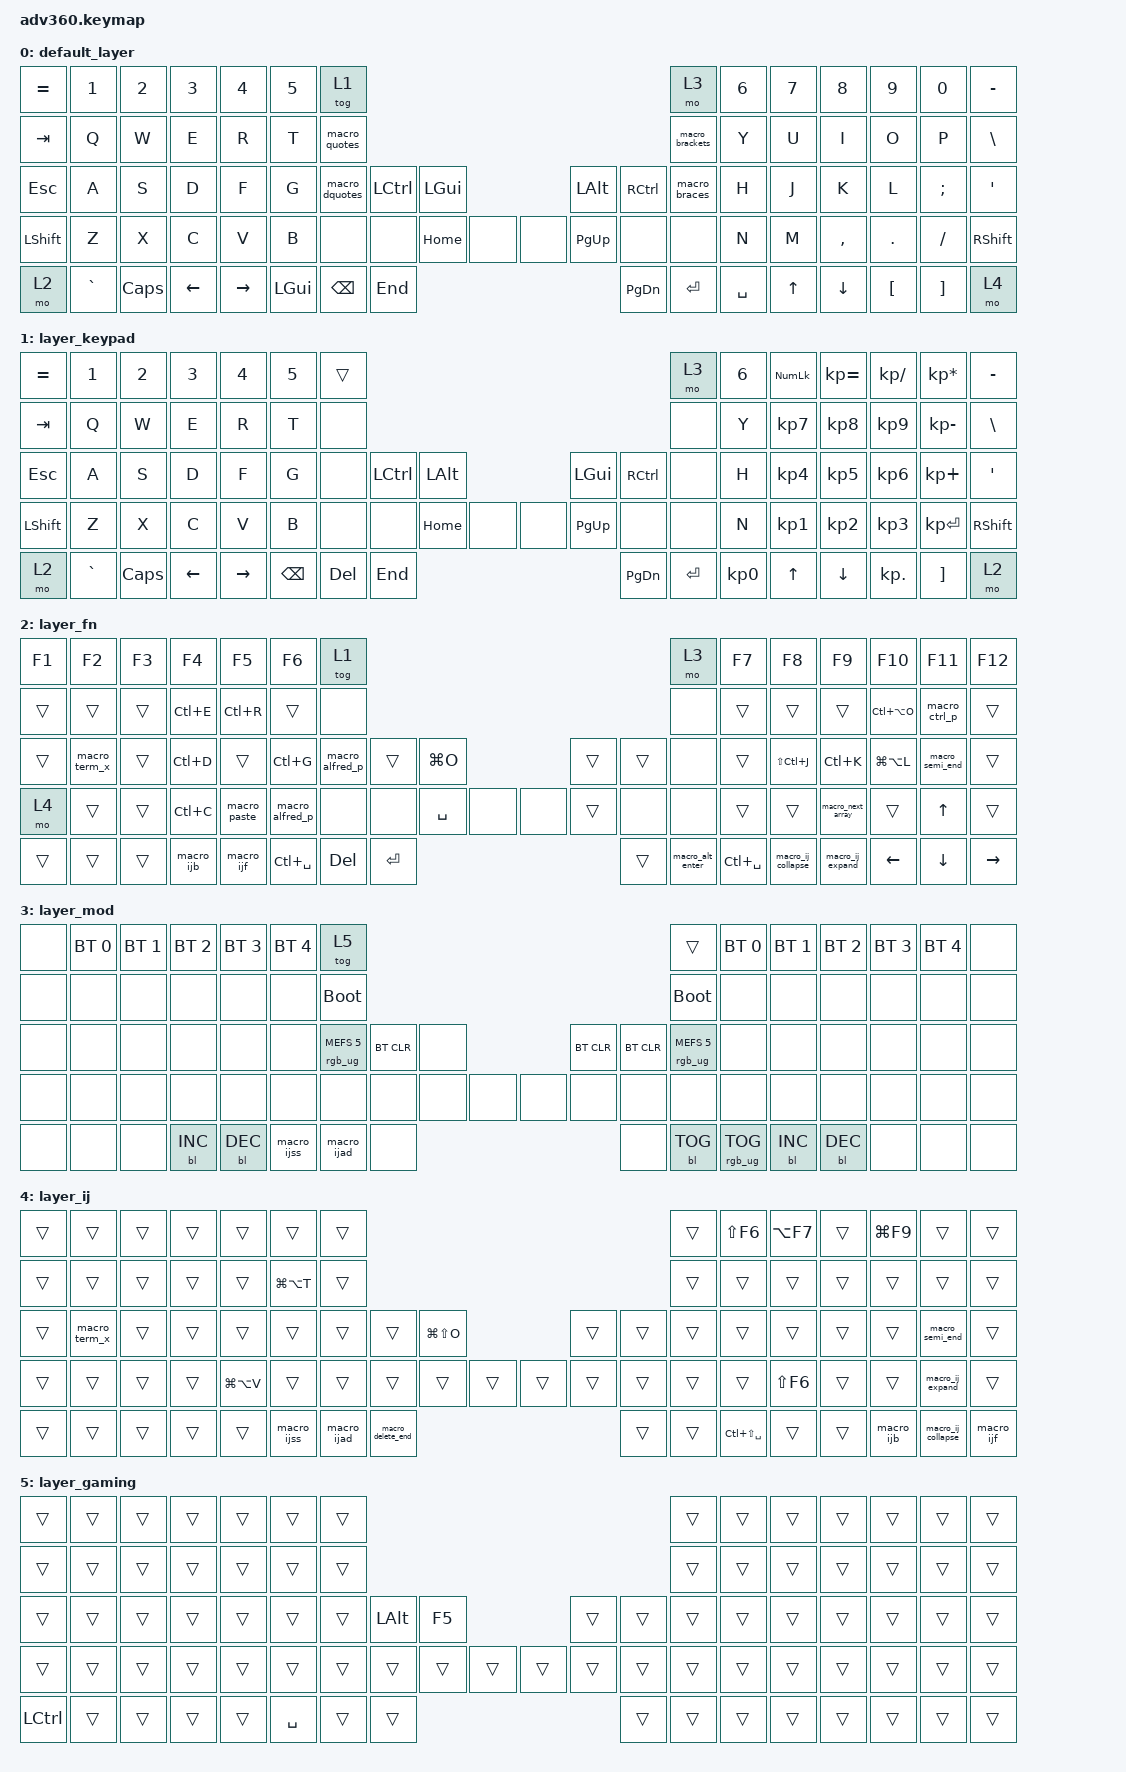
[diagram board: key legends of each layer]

/*
 * Copyright (c) 2020 The ZMK Contributors
 *
 * SPDX-License-Identifier: MIT
 */


/* THIS FILE WAS GENERATED!
 *
 * This file was generated automatically. You may or may not want to
 * edit it directly.
 */

#include <behaviors.dtsi>
#include <dt-bindings/zmk/keys.h>
#include <dt-bindings/zmk/bt.h>
#include <dt-bindings/zmk/rgb.h>
#include <dt-bindings/zmk/backlight.h>

/ {
  behaviors {
    #include "macros.dtsi"

    hm: homerow_mods {
        compatible = "zmk,behavior-hold-tap";
        label = "HOMEROW_MODS";
        #binding-cells = <2>;
        tapping-term-ms = <200>;
        quick_tap_ms = <175>;
        flavor = "tap-preferred";
        bindings = <&kp>, <&kp>;
    };
  };

    keymap {
        compatible = "zmk,keymap";


        default_layer {
            bindings = <
 &kp EQUAL     &kp N1    &kp N2    &kp N3     &kp N4  &kp N5                    &tog 1                                                                           &mo 3  &kp N6  &kp N7     &kp N8    &kp N9    &kp N0  &kp MINUS
   &kp TAB      &kp Q     &kp W     &kp E      &kp R   &kp T             &macro_quotes                                                                 &macro_brackets   &kp Y   &kp U      &kp I     &kp O     &kp P   &kp BSLH
   &kp ESC      &kp A     &kp S     &kp D      &kp F   &kp G            &macro_dquotes      &kp LCTRL  &kp LGUI                   &kp LALT  &kp RCTRL    &macro_braces   &kp H   &kp J      &kp K     &kp L  &kp SEMI    &kp SQT
 &kp LSHFT      &kp Z     &kp X     &kp C      &kp V   &kp B                     &none          &none  &kp HOME   &none   &none  &kp PG_UP      &none            &none   &kp N   &kp M  &kp COMMA   &kp DOT  &kp FSLH  &kp RSHFT
     &mo 2  &kp GRAVE  &kp CAPS  &kp LEFT  &kp RIGHT                      &kp LEFT_GUI  &kp BACKSPACE   &kp END                  &kp PG_DN  &kp ENTER        &kp SPACE          &kp UP   &kp DOWN  &kp LBKT  &kp RBKT      &mo 4
            >;
        };

        layer_keypad {
            bindings = <
 &kp EQUAL     &kp N1    &kp N2    &kp N3     &kp N4  &kp N5              &trans                                                                 &mo 3  &kp N6  &kp KP_NUM  &kp KP_EQUAL  &kp KP_DIVIDE  &kp KP_MULTIPLY  &kp MINUS
   &kp TAB      &kp Q     &kp W     &kp E      &kp R   &kp T               &none                                                                 &none   &kp Y   &kp KP_N7     &kp KP_N8      &kp KP_N9     &kp KP_MINUS   &kp BSLH
   &kp ESC      &kp A     &kp S     &kp D      &kp F   &kp G               &none  &kp LCTRL  &kp LALT                   &kp LGUI  &kp RCTRL      &none   &kp H   &kp KP_N4     &kp KP_N5      &kp KP_N6      &kp KP_PLUS    &kp SQT
 &kp LSHFT      &kp Z     &kp X     &kp C      &kp V   &kp B               &none      &none  &kp HOME   &none   &none  &kp PG_UP      &none      &none   &kp N   &kp KP_N1     &kp KP_N2      &kp KP_N3     &kp KP_ENTER  &kp RSHFT
     &mo 2  &kp GRAVE  &kp CAPS  &kp LEFT  &kp RIGHT                    &kp BSPC    &kp DEL   &kp END                  &kp PG_DN  &kp ENTER  &kp KP_N0              &kp UP      &kp DOWN     &kp KP_DOT         &kp RBKT      &mo 2
            >;
        };

        layer_fn {
            bindings = <
 &kp F1         &kp F2  &kp F3      &kp F4        &kp F5           &kp F6                     &tog 1                                                                           &mo 3  &kp F7              &kp F8             &kp F9         &kp F10          &kp F11          &kp F12
 &trans         &trans  &trans   &kp LC(E)     &kp LC(R)           &trans                      &none                                                                           &none  &trans              &trans             &trans   &kp LC(LA(O))    &macro_ctrl_p           &trans
 &trans  &macro_term_x  &trans   &kp LC(D)        &trans        &kp LC(G)            &macro_alfred_p      &trans  &kp LG(O)                  &trans            &trans          &none  &trans       &kp LS(LC(J))          &kp LC(K)   &kp LG(LA(L))  &macro_semi_end           &trans
  &mo 4         &trans  &trans   &kp LC(C)  &macro_paste  &macro_alfred_p                      &none       &none  &kp SPACE   &none   &none  &trans             &none          &none  &trans              &trans  &macro_next_array          &trans     &kp UP_ARROW           &trans
 &trans         &trans  &trans  &macro_ijb    &macro_ijf                               &kp LC(SPACE)  &kp DELETE  &kp ENTER                  &trans  &macro_alt_enter  &kp LC(SPACE)          &macro_ij_collapse   &macro_ij_expand  &kp LEFT_ARROW   &kp DOWN_ARROW  &kp RIGHT_ARROW
            >;
        };

        layer_mod {
            bindings = <
  &none  &bt BT_SEL 0  &bt BT_SEL 1  &bt BT_SEL 2  &bt BT_SEL 3  &bt BT_SEL 4                            &tog 5                                                                               &trans  &bt BT_SEL 0  &bt BT_SEL 1  &bt BT_SEL 2  &bt BT_SEL 3  &bt BT_SEL 4   &none
  &none         &none         &none         &none         &none         &none                       &bootloader                                                                          &bootloader         &none         &none         &none         &none         &none   &none
  &none         &none         &none         &none         &none         &none            &rgb_ug RGB_MEFS_CMD 5   &bt BT_CLR   &none                  &bt BT_CLR  &bt BT_CLR  &rgb_ug RGB_MEFS_CMD 5         &none         &none         &none         &none         &none   &none
  &none         &none         &none         &none         &none         &none                             &none        &none   &none   &none   &none       &none       &none                   &none         &none         &none         &none         &none         &none   &none
  &none         &none         &none    &bl BL_INC    &bl BL_DEC                                     &macro_ijss  &macro_ijad   &none                       &none  &bl BL_TOG         &rgb_ug RGB_TOG                  &bl BL_INC    &bl BL_DEC         &none         &none   &none
            >;
        };

        layer_ij {
            bindings = <
 &trans         &trans  &trans  &trans         &trans         &trans                 &trans                                                                             &trans  &kp LS(F6)  &kp LA(F7)  &trans  &kp LG(F9)              &trans      &trans
 &trans         &trans  &trans  &trans         &trans  &kp LG(LA(T))                 &trans                                                                             &trans      &trans      &trans  &trans      &trans              &trans      &trans
 &trans  &macro_term_x  &trans  &trans         &trans         &trans                 &trans       &trans      &kp LG(LS(O))                  &trans  &trans             &trans      &trans      &trans  &trans      &trans     &macro_semi_end      &trans
 &trans         &trans  &trans  &trans  &kp LG(LA(V))         &trans                 &trans       &trans             &trans  &trans  &trans  &trans  &trans             &trans      &trans  &kp LS(F6)  &trans      &trans    &macro_ij_expand      &trans
 &trans         &trans  &trans  &trans         &trans                           &macro_ijss  &macro_ijad  &macro_delete_end                  &trans  &trans  &kp LC(LS(SPACE))                  &trans  &trans  &macro_ijb  &macro_ij_collapse  &macro_ijf
            >;
        };

        layer_gaming {
            bindings = <
 &trans  &trans  &trans  &trans  &trans  &trans                 &trans                                                       &trans  &trans  &trans  &trans  &trans  &trans  &trans
 &trans  &trans  &trans  &trans  &trans  &trans                 &trans                                                       &trans  &trans  &trans  &trans  &trans  &trans  &trans
 &trans  &trans  &trans  &trans  &trans  &trans                 &trans     &kp LALT    &kp F5                  &trans  &trans  &trans  &trans  &trans  &trans  &trans  &trans  &trans
 &trans  &trans  &trans  &trans  &trans  &trans                 &trans       &trans  &trans  &trans  &trans  &trans  &trans  &trans  &trans  &trans  &trans  &trans  &trans  &trans
&kp LCTRL  &trans  &trans  &trans  &trans                      &kp SPACE       &trans  &trans                  &trans  &trans  &trans          &trans  &trans  &trans  &trans  &trans
            >;
        };

    };
};
